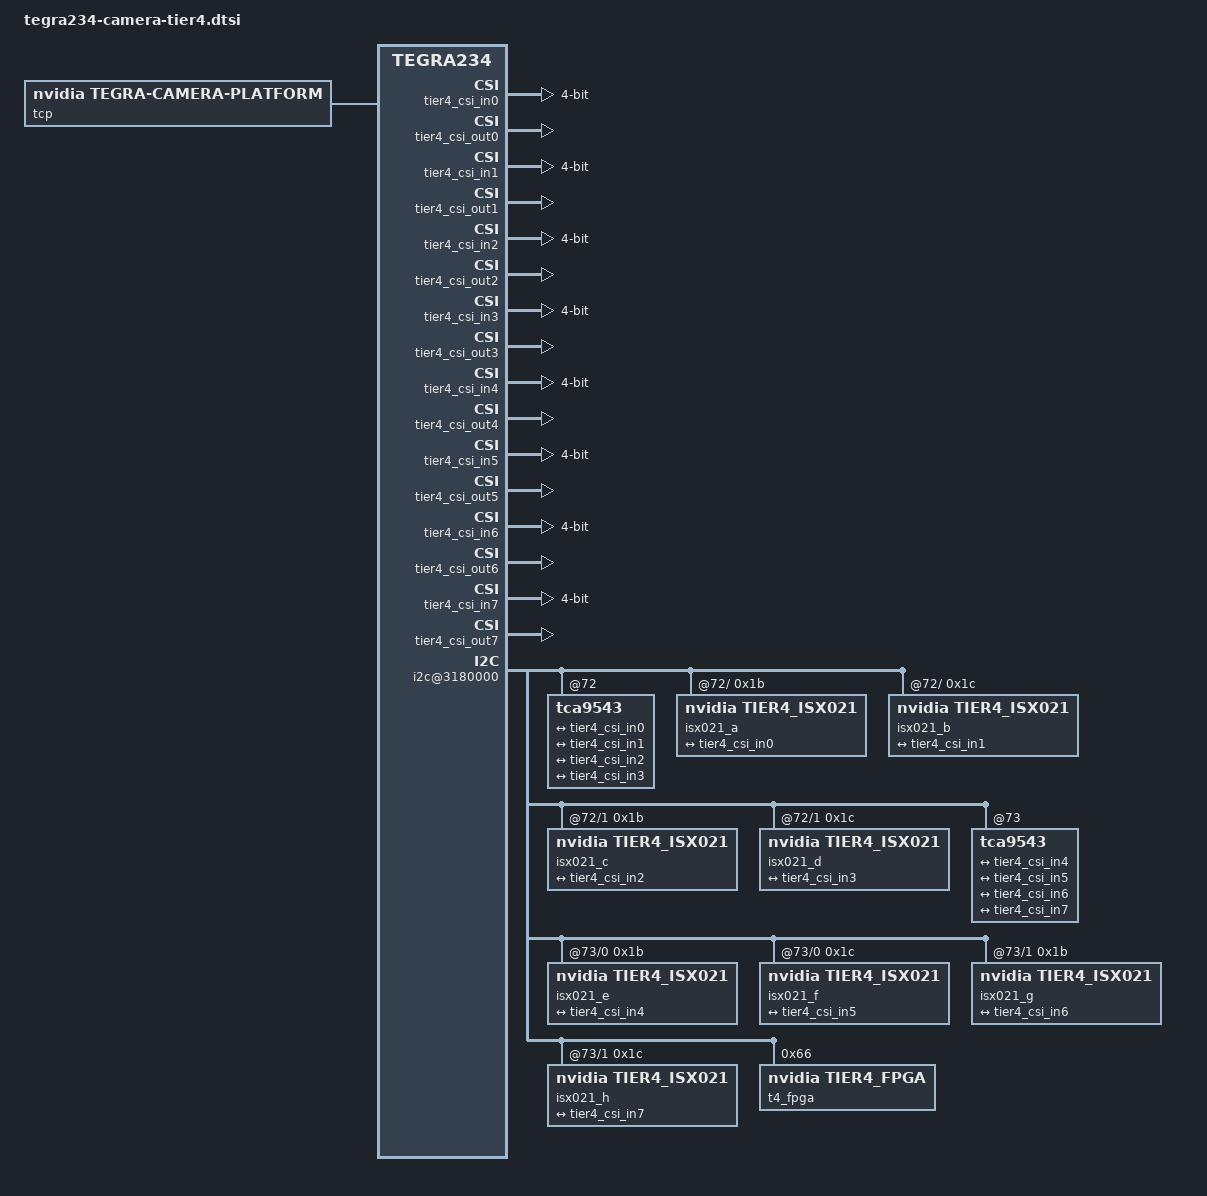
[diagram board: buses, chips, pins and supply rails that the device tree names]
/*
 * Copyright (c) 2018-2021, NVIDIA CORPORATION.  All rights reserved.
 *
 * This program is free software; you can redistribute it and/or modify it
 * under the terms and conditions of the GNU General Public License,
 * version 2, as published by the Free Software Foundation.
 *
 * This program is distributed in the hope it will be useful, but WITHOUT
 * ANY WARRANTY; without even the implied warranty of MERCHANTABILITY or
 * FITNESS FOR A PARTICULAR PURPOSE.  See the GNU General Public License for
 * more details.
 *
 * You should have received a copy of the GNU General Public License
 * along with this program.  If not, see <http://www.gnu.org/licenses/>.
 */

/* TIER4 + MAX9295 + MAX9296 + AGX ORIN */
#define BUS_WIDTH 4
#define NUM_LANES 4
#define MODE_NUMLANES "4"
#define TIER4_PIX_CLK_HZ "74250000"
//#define TIER4_PIX_CLK_HZ "94500000"
//#define TIER4_SERDES_PIX_CLK_HZ "350000000"
#define TIER4_SERDES_PIX_CLK_HZ "375000000"

/ {
	tegra-capture-vi {
		num-channels = <8>;

		ports {
			#address-cells = <1>;
			#size-cells = <0>;

			port@0 {
				reg = <0>;
				tier4_vi_in0: endpoint {
					vc-id = <0>;
					port-index = <0>;
					bus-width = <BUS_WIDTH>;
					remote-endpoint = <&tier4_csi_out0>;
				};
			};
			port@1 {
				reg = <1>;
				tier4_vi_in1: endpoint {
					vc-id = <1>;
					port-index = <0>;
					bus-width = <BUS_WIDTH>;
					remote-endpoint = <&tier4_csi_out1>;
				};
			};
			port@2 {
				reg = <2>;
				tier4_vi_in2: endpoint {
					vc-id = <0>;
					port-index = <2>;
					bus-width = <BUS_WIDTH>;
					remote-endpoint = <&tier4_csi_out2>;
				};
			};
			port@3 {
				reg = <3>;
				tier4_vi_in3: endpoint {
					vc-id = <1>;
					port-index = <2>;
					bus-width = <BUS_WIDTH>;
					remote-endpoint = <&tier4_csi_out3>;
				};
			};
			port@4 {
				reg = <4>;
				tier4_vi_in4: endpoint {
					vc-id = <0>;
					port-index = <4>;
					bus-width = <BUS_WIDTH>;
					remote-endpoint = <&tier4_csi_out4>;
				};
			};
			port@5 {
				reg = <5>;
				tier4_vi_in5: endpoint {
					vc-id = <1>;
					port-index = <4>;
					bus-width = <BUS_WIDTH>;
					remote-endpoint = <&tier4_csi_out5>;
				};
			};
			port@6 {
				reg = <6>;
				tier4_vi_in6: endpoint {
					vc-id = <0>;
					port-index = <5>;
					bus-width = <BUS_WIDTH>;
					remote-endpoint = <&tier4_csi_out6>;
				};
			};
			port@7 {
				reg = <7>;
				tier4_vi_in7: endpoint {
					vc-id = <1>;
					port-index = <5>;
					bus-width = <BUS_WIDTH>;
					remote-endpoint = <&tier4_csi_out7>;
				};
			};
		};
	};

	host1x@13e00000 {
		nvcsi@15a00000 {
			num-channels = <8>;
			#address-cells = <1>;
			#size-cells = <0>;

			channel@0 {
				reg = <0>;
				status = "okay";
				ports {
					#address-cells = <1>;
					#size-cells = <0>;
					port@0 {
						reg = <0>;
						status = "okay";
						tier4_csi_in0: endpoint@0 {
							port-index = <0>;
							bus-width = <BUS_WIDTH>;
							remote-endpoint = <&isx021_out0>;
							status = "okay";
						};
					};
					port@1 {
						reg = <1>;
						status = "okay";
						tier4_csi_out0: endpoint@1 {
							remote-endpoint = <&tier4_vi_in0>;
							status = "okay";
						};
					};
				};
			};
			channel@1 {
				reg = <1>;
				status = "okay";
				ports {
					#address-cells = <1>;
					#size-cells = <0>;
					port@0 {
						reg = <0>;
						status = "okay";
						tier4_csi_in1: endpoint@2 {
							port-index = <0>;
							bus-width = <BUS_WIDTH>;
							remote-endpoint = <&isx021_out1>;
							status = "okay";
						};
					};
					port@1 {
						reg = <1>;
						status = "okay";
						tier4_csi_out1: endpoint@3 {
							remote-endpoint = <&tier4_vi_in1>;
							status = "okay";
						};
					};
				};
			};
			channel@2 {
				reg = <2>;
				status = "okay";
				ports {
					#address-cells = <1>;
					#size-cells = <0>;
					port@0 {
						reg = <0>;
						status = "okay";
						tier4_csi_in2: endpoint@4 {
							port-index = <2>;
							bus-width = <BUS_WIDTH>;
							remote-endpoint = <&isx021_out2>;
							status = "okay";
						};
					};
					port@1 {
						reg = <1>;
						status = "okay";
						tier4_csi_out2: endpoint@5 {
							remote-endpoint = <&tier4_vi_in2>;
							status = "okay";
						};
					};
				};
			};
			channel@3 {
				reg = <3>;
				status = "okay";
				ports {
					#address-cells = <1>;
					#size-cells = <0>;
					port@0 {
						reg = <0>;
						status = "okay";
						tier4_csi_in3: endpoint@6 {
							port-index = <2>;
							bus-width = <BUS_WIDTH>;
							remote-endpoint = <&isx021_out3>;
							status = "okay";
						};
					};
					port@1 {
						reg = <1>;
						status = "okay";
						tier4_csi_out3: endpoint@7 {
							remote-endpoint = <&tier4_vi_in3>;
							status = "okay";
						};
					};
				};
			};
			channel@4 {
				reg = <4>;
				status = "okay";
				ports {
					#address-cells = <1>;
					#size-cells = <0>;
					port@0 {
						reg = <0>;
						status = "okay";
						tier4_csi_in4: endpoint@8 {
							port-index = <4>;
							bus-width = <BUS_WIDTH>;
							remote-endpoint = <&isx021_out4>;
							status = "okay";
						};
					};
					port@1 {
						reg = <1>;
						status = "okay";
						tier4_csi_out4: endpoint@9 {
							remote-endpoint = <&tier4_vi_in4>;
							status = "okay";
						};
					};
				};
			};
			channel@5 {
				reg = <5>;
				status = "okay";
				ports {
					#address-cells = <1>;
					#size-cells = <0>;
					port@0 {
						reg = <0>;
						status = "okay";
						tier4_csi_in5: endpoint@10 {
							port-index = <4>;
							bus-width = <BUS_WIDTH>;
							remote-endpoint = <&isx021_out5>;
							status = "okay";
						};
					};
					port@1 {
						reg = <1>;
						status = "okay";
						tier4_csi_out5: endpoint@11 {
							remote-endpoint = <&tier4_vi_in5>;
							status = "okay";
						};
					};
				};
			};
			channel@6 {
				reg = <6>;
				status = "okay";
				ports {
					#address-cells = <1>;
					#size-cells = <0>;
					port@0 {
						reg = <0>;
						status = "okay";
						tier4_csi_in6: endpoint@12 {
							port-index = <6>;
							bus-width = <BUS_WIDTH>;
							remote-endpoint = <&isx021_out6>;
							status = "okay";
						};
					};
					port@1 {
						reg = <1>;
						status = "okay";
						tier4_csi_out6: endpoint@13 {
							remote-endpoint = <&tier4_vi_in6>;
							status = "okay";
						};
					};
				};
			};
			channel@7 {
				reg = <7>;
				status = "okay";
				ports {
					#address-cells = <1>;
					#size-cells = <0>;
					port@0 {
						reg = <0>;
						status = "okay";
						tier4_csi_in7: endpoint@14 {
							port-index = <6>;
							bus-width = <BUS_WIDTH>;
							remote-endpoint = <&isx021_out7>;
							status = "okay";
						};
					};
					port@1 {
						reg = <1>;
						status = "okay";
						tier4_csi_out7: endpoint@15 {
							remote-endpoint = <&tier4_vi_in7>;
							status = "okay";
						};
					};
				};
			};
		};
	};

i2c@3180000 {
	tca9543@72 {
		i2c@0 {
			isx021_a@1b {
				//cvb
				status = "okay";
				def-addr = <0x1a>;

				// common module
				compatible = "nvidia,tier4_isx021";
				reg = <0x1b>;

				/* Physical dimensions of sensor */
				physical_w = "15.0";
				physical_h = "12.5";
				reg_mux = <0>;
				sensor_model ="isx021";
				fsync-mode = "false";
				distortion-correction = "false";
				auto-exposure = "true";

				/* Defines number of frames to be dropped by driver internally after applying */
				/* sensor crop settings. Some sensors send corrupt frames after applying */
				/* crop co-ordinates */
				post_crop_frame_drop = "0";

				/* Convert Gain to unit of dB (decibel) befor passing to kernel driver */
				use_decibel_gain = "true";

				/* enable CID_SENSOR_MODE_ID for sensor modes selection */
				use_sensor_mode_id = "true";
				//use_sensor_mode_id = "false";

				mode0 {
					/*mode ISX021_MODE_1920X1280_CROP_30FPS*/
					mclk_khz = "24000";
					num_lanes = MODE_NUMLANES;
					tegra_sinterface = "serial_a";
					vc_id = "0";
					discontinuous_clk = "no";
					dpcm_enable = "false";
					cil_settletime = "0";
					dynamic_pixel_bit_depth = "16";
					csi_pixel_bit_depth = "16";
					mode_type = "yuv";
					pixel_phase = "uyvy";

					active_w = "1920";
					active_h = "1280";
					readout_orientation = "0";
					line_length = "2250";
					inherent_gain = "1";

					pix_clk_hz = TIER4_PIX_CLK_HZ;
					serdes_pix_clk_hz = TIER4_SERDES_PIX_CLK_HZ;

					gain_factor = "10";
					min_gain_val = "0"; /* dB */
					max_gain_val = "300"; /* dB */
					step_gain_val = "3"; /* 0.3 */
					default_gain = "0";
					min_hdr_ratio = "1";
					max_hdr_ratio = "1";
					framerate_factor = "1000000";
					min_framerate = "30000000";
					max_framerate = "30000000";
					step_framerate = "1";
					default_framerate = "30000000";
					exposure_factor = "1000000";
					min_exp_time = "24"; /* us 1 line */
					max_exp_time = "33333";
					step_exp_time = "1";
					default_exp_time = "33333"; /* us */
					embedded_metadata_height = "0";
				};

				mode1 {
					/*mode ISX021_MODE_1920X1280_CROP_30FPS  for Front Embedded data */
					mclk_khz = "24000";
					num_lanes = MODE_NUMLANES;
					tegra_sinterface = "serial_a";
					vc_id = "0";
					discontinuous_clk = "no";
					dpcm_enable = "false";
					cil_settletime = "0";
					dynamic_pixel_bit_depth = "16";
					csi_pixel_bit_depth = "16";
					mode_type = "yuv";
					pixel_phase = "uyvy";

					active_w = "1920";
					active_h = "1281";
					readout_orientation = "0";
					line_length = "2250";
					inherent_gain = "1";

					pix_clk_hz = TIER4_PIX_CLK_HZ;
					serdes_pix_clk_hz = TIER4_SERDES_PIX_CLK_HZ;

					gain_factor = "10";
					min_gain_val = "0"; /* dB */
					max_gain_val = "300"; /* dB */
					step_gain_val = "3"; /* 0.3 */
					default_gain = "0";
					min_hdr_ratio = "1";
					max_hdr_ratio = "1";
					framerate_factor = "1000000";
					min_framerate = "30000000";
					max_framerate = "30000000";
					step_framerate = "1";
					default_framerate = "30000000";
					exposure_factor = "1000000";
					min_exp_time = "24"; /* us 1 line */
					max_exp_time = "33333";
					step_exp_time = "1";
					default_exp_time = "33333"; /* us */
					embedded_metadata_height = "0";
				};

				mode2 {
					/*mode ISX021_MODE_1920X1280_CROP_30FPS  for Rear Embedded data */
					mclk_khz = "24000";
					num_lanes = MODE_NUMLANES;
					tegra_sinterface = "serial_a";
					vc_id = "0";
					discontinuous_clk = "no";
					dpcm_enable = "false";
					cil_settletime = "0";
					dynamic_pixel_bit_depth = "16";
					csi_pixel_bit_depth = "16";
					mode_type = "yuv";
					pixel_phase = "uyvy";

					active_w = "1920";
					active_h = "1294";
					readout_orientation = "0";
					line_length = "2250";
					inherent_gain = "1";

					pix_clk_hz = TIER4_PIX_CLK_HZ;
					serdes_pix_clk_hz = TIER4_SERDES_PIX_CLK_HZ;

					gain_factor = "10";
					min_gain_val = "0"; /* dB */
					max_gain_val = "300"; /* dB */
					step_gain_val = "3"; /* 0.3 */
					default_gain = "0";
					min_hdr_ratio = "1";
					max_hdr_ratio = "1";
					framerate_factor = "1000000";
					min_framerate = "30000000";
					max_framerate = "30000000";
					step_framerate = "1";
					default_framerate = "30000000";
					exposure_factor = "1000000";
					min_exp_time = "24"; /* us 1 line */
					max_exp_time = "33333";
					step_exp_time = "1";
					default_exp_time = "33333"; /* us */
					embedded_metadata_height = "0";
				};

				mode3 {
					/*mode ISX021_MODE_1920X1280_CROP_30FPS  for Front and Rear Embedded data */
					mclk_khz = "24000";
					num_lanes = MODE_NUMLANES;
					tegra_sinterface = "serial_a";
					vc_id = "0";
					discontinuous_clk = "no";
					dpcm_enable = "false";
					cil_settletime = "0";
					dynamic_pixel_bit_depth = "16";
					csi_pixel_bit_depth = "16";
					mode_type = "yuv";
					pixel_phase = "uyvy";

					active_w = "1920";
					active_h = "1295";
					readout_orientation = "0";
					line_length = "2250";
					inherent_gain = "1";

					pix_clk_hz = TIER4_PIX_CLK_HZ;
					serdes_pix_clk_hz = TIER4_SERDES_PIX_CLK_HZ;

					gain_factor = "10";
					min_gain_val = "0"; /* dB */
					max_gain_val = "300"; /* dB */
					step_gain_val = "3"; /* 0.3 */
					default_gain = "0";
					min_hdr_ratio = "1";
					max_hdr_ratio = "1";
					framerate_factor = "1000000";
					min_framerate = "30000000";
					max_framerate = "30000000";
					step_framerate = "1";
					default_framerate = "30000000";
					exposure_factor = "1000000";
					min_exp_time = "24"; /* us 1 line */
					max_exp_time = "33333";
					step_exp_time = "1";
					default_exp_time = "33333"; /* us */
					embedded_metadata_height = "0";
				};

				ports {
					#address-cells = <1>;
					#size-cells = <0>;

					port@0 {
						reg = <0>;

						isx021_out0: endpoint {
							vc-id = <0>;
							port-index = <0>;
							bus-width = <BUS_WIDTH>;
							remote-endpoint = <&tier4_csi_in0>;
						};
					};
				};

				gmsl-link { /* isx021_a@1b */
					src-csi-port = "b";           /* Port at which sensor is connected to its serializer device. */
					dst-csi-port = "a";           /* Destination CSI port on the Jetson side, connected at deserializer. */
					serdes-csi-link = "a";        /* GMSL link sensor/serializer connected */
					csi-mode = "1x4";             /*  to sensor CSI mode. */
					st-vc = <0>;                  /* Sensor source default VC ID: 0 unless overridden by sensor. */
					vc-id = <0>;                  /* Destination VC ID, assigned to sensor stream by deserializer. */
					num-lanes = <NUM_LANES>;              /* Number of CSI lanes used. */
					streams = "ued-u1", "yuv8";   /* Types of streams sensor is streaming. */
				};

			}; // End of isx021_a@1b   

			isx021_b@1c {
				//cvb
				status = "okay";
				def-addr = <0x1a>;

				// common module
				compatible = "nvidia,tier4_isx021";
				reg = <0x1c>;

				/* Physical dimensions of sensor */
				physical_w = "15.0";
				physical_h = "12.5";
				reg_mux = <0>;
				sensor_model ="isx021";
				fsync-mode = "false";
				distortion-correction = "false";
				auto-exposure = "true";

				/* Defines number of frames to be dropped by driver internally after applying */
				/* sensor crop settings. Some sensors send corrupt frames after applying */
				/* crop co-ordinates */
				post_crop_frame_drop = "0";

				/* Convert Gain to unit of dB (decibel) befor passing to kernel driver */
				use_decibel_gain = "true";

				/* enable CID_SENSOR_MODE_ID for sensor modes selection */
				use_sensor_mode_id = "true";
				//use_sensor_mode_id = "false";

				mode0 {
					/*mode ISX021_MODE_1920X1280_CROP_30FPS*/
					mclk_khz = "24000";
					num_lanes = MODE_NUMLANES;
					tegra_sinterface = "serial_a";
					vc_id = "1";
					discontinuous_clk = "no";
					dpcm_enable = "false";
					cil_settletime = "0";
					dynamic_pixel_bit_depth = "16";
					csi_pixel_bit_depth = "16";
					mode_type = "yuv";
					pixel_phase = "uyvy";

					active_w = "1920";
					active_h = "1280";
					readout_orientation = "0";
					line_length = "2250";
					inherent_gain = "1";

					pix_clk_hz = TIER4_PIX_CLK_HZ;
					serdes_pix_clk_hz = TIER4_SERDES_PIX_CLK_HZ;

					gain_factor = "10";
					min_gain_val = "0"; /* dB */
					max_gain_val = "300"; /* dB */
					step_gain_val = "3"; /* 0.3 */
					default_gain = "0";
					min_hdr_ratio = "1";
					max_hdr_ratio = "1";
					framerate_factor = "1000000";
					min_framerate = "30000000";
					max_framerate = "30000000";
					step_framerate = "1";
					default_framerate = "30000000";
					exposure_factor = "1000000";
					min_exp_time = "24"; /* us 1 line */
					max_exp_time = "33333";
					step_exp_time = "1";
					default_exp_time = "33333"; /* us */
					embedded_metadata_height = "0";
				};

				mode1 {
					/*mode ISX021_MODE_1920X1280_CROP_30FPS  for Front Embedded data */
					mclk_khz = "24000";
					num_lanes = MODE_NUMLANES;
					tegra_sinterface = "serial_a";
					vc_id = "1";
					discontinuous_clk = "no";
					dpcm_enable = "false";
					cil_settletime = "0";
					dynamic_pixel_bit_depth = "16";
					csi_pixel_bit_depth = "16";
					mode_type = "yuv";
					pixel_phase = "uyvy";

					active_w = "1920";
					active_h = "1281";
					readout_orientation = "0";
					line_length = "2250";
					inherent_gain = "1";

					pix_clk_hz = TIER4_PIX_CLK_HZ;
					serdes_pix_clk_hz = TIER4_SERDES_PIX_CLK_HZ;

					gain_factor = "10";
					min_gain_val = "0"; /* dB */
					max_gain_val = "300"; /* dB */
					step_gain_val = "3"; /* 0.3 */
					default_gain = "0";
					min_hdr_ratio = "1";
					max_hdr_ratio = "1";
					framerate_factor = "1000000";
					min_framerate = "30000000";
					max_framerate = "30000000";
					step_framerate = "1";
					default_framerate = "30000000";
					exposure_factor = "1000000";
					min_exp_time = "24"; /* us 1 line */
					max_exp_time = "33333";
					step_exp_time = "1";
					default_exp_time = "33333"; /* us */
					embedded_metadata_height = "0";
				};

				mode2 {
					/*mode ISX021_MODE_1920X1280_CROP_30FPS  for Rear Embedded data */
					mclk_khz = "24000";
					num_lanes = MODE_NUMLANES;
					tegra_sinterface = "serial_a";
					vc_id = "1";
					discontinuous_clk = "no";
					dpcm_enable = "false";
					cil_settletime = "0";
					dynamic_pixel_bit_depth = "16";
					csi_pixel_bit_depth = "16";
					mode_type = "yuv";
					pixel_phase = "uyvy";

					active_w = "1920";
					active_h = "1294";
					readout_orientation = "0";
					line_length = "2250";
					inherent_gain = "1";

					pix_clk_hz = TIER4_PIX_CLK_HZ;
					serdes_pix_clk_hz = TIER4_SERDES_PIX_CLK_HZ;

					gain_factor = "10";
					min_gain_val = "0"; /* dB */
					max_gain_val = "300"; /* dB */
					step_gain_val = "3"; /* 0.3 */
					default_gain = "0";
					min_hdr_ratio = "1";
					max_hdr_ratio = "1";
					framerate_factor = "1000000";
					min_framerate = "30000000";
					max_framerate = "30000000";
					step_framerate = "1";
					default_framerate = "30000000";
					exposure_factor = "1000000";
					min_exp_time = "24"; /* us 1 line */
					max_exp_time = "33333";
					step_exp_time = "1";
					default_exp_time = "33333"; /* us */
					embedded_metadata_height = "0";
				};

				mode3 {
					/*mode ISX021_MODE_1920X1280_CROP_30FPS  for Front and Rear Embedded data */
					mclk_khz = "24000";
					num_lanes = MODE_NUMLANES;
					tegra_sinterface = "serial_a";
					vc_id = "1";
					discontinuous_clk = "no";
					dpcm_enable = "false";
					cil_settletime = "0";
					dynamic_pixel_bit_depth = "16";
					csi_pixel_bit_depth = "16";
					mode_type = "yuv";
					pixel_phase = "uyvy";

					active_w = "1920";
					active_h = "1295";
					readout_orientation = "0";
					line_length = "2250";
					inherent_gain = "1";

					pix_clk_hz = TIER4_PIX_CLK_HZ;
					serdes_pix_clk_hz = TIER4_SERDES_PIX_CLK_HZ;

					gain_factor = "10";
					min_gain_val = "0"; /* dB */
					max_gain_val = "300"; /* dB */
					step_gain_val = "3"; /* 0.3 */
					default_gain = "0";
					min_hdr_ratio = "1";
					max_hdr_ratio = "1";
					framerate_factor = "1000000";
					min_framerate = "30000000";
					max_framerate = "30000000";
					step_framerate = "1";
					default_framerate = "30000000";
					exposure_factor = "1000000";
					min_exp_time = "24"; /* us 1 line */
					max_exp_time = "33333";
					step_exp_time = "1";
					default_exp_time = "33333"; /* us */
					embedded_metadata_height = "0";
				};

				ports {
					#address-cells = <1>;
					#size-cells = <0>;

					port@0 {
						reg = <0>;
						isx021_out1: endpoint {
							vc-id = <1>;
							port-index = <0>;
							bus-width = <BUS_WIDTH>;
							remote-endpoint = <&tier4_csi_in1>;
						};
					};
				};

				gmsl-link { /* isx021_b@1c */
					src-csi-port = "b";           /* Port at which sensor is connected to its serializer device. */
					dst-csi-port = "a";           /* Destination CSI port on the Jetson side, connected at deserializer. */
					serdes-csi-link = "b";        /* GMSL link sensor/serializer connected */
					csi-mode = "1x4";             /*  to sensor CSI mode. */
					st-vc = <0>;                  /* Sensor source default VC ID: 0 unless overridden by sensor. */
					vc-id = <1>;                  /* Destination VC ID, assigned to sensor stream by deserializer. */
					num-lanes = <NUM_LANES>;              /* Number of CSI lanes used. */
					streams = "ued-u1", "yuv8";   /* Types of streams sensor is streaming. */
				};

			}; // End of isx021_b@1c

		};// End of i2c@0	
 
		i2c@1 {
			i2c-mux,deselect-on-exit;
			#address-cells = <1>;
			#size-cells = <0>;
			status = "okay";

			reg = <1>;

			isx021_c@1b {
				//cvb
				status = "okay";
				def-addr = <0x1a>;

				// common modul;e
				compatible = "nvidia,tier4_isx021";
				reg = <0x1b>;

				/* Physical dimensions of sensor */
				physical_w = "15.0";
				physical_h = "12.5";
				reg_mux = <1>;

				sensor_model ="isx021";
				fsync-mode = "false";
				distortion-correction = "false";
				auto-exposure = "true";

				/* Defines number of frames to be dropped by driver internally after applying */
				/* sensor crop settings. Some sensors send corrupt frames after applying */
				/* crop co-ordinates */
				post_crop_frame_drop = "0";

				/* Convert Gain to unit of dB (decibel) befor passing to kernel driver */
				use_decibel_gain = "true";

				/* enable CID_SENSOR_MODE_ID for sensor modes selection */
				use_sensor_mode_id = "true";
				//use_sensor_mode_id = "false";

				mode0 {
					/*mode ISX021_MODE_1920X1280_CROP_30FPS*/
					mclk_khz = "24000";
					num_lanes = MODE_NUMLANES;
					tegra_sinterface = "serial_c";
					vc_id = "0";
					discontinuous_clk = "no";
					dpcm_enable = "false";
					cil_settletime = "0";
					dynamic_pixel_bit_depth = "16";
					csi_pixel_bit_depth = "16";
					mode_type = "yuv";
					pixel_phase = "uyvy";

					active_w = "1920";
					active_h = "1280";
					readout_orientation = "0";
					line_length = "2250";
					inherent_gain = "1";

					pix_clk_hz = TIER4_PIX_CLK_HZ;
					serdes_pix_clk_hz = TIER4_SERDES_PIX_CLK_HZ;

					gain_factor = "10";
					min_gain_val = "0"; /* dB */
					max_gain_val = "300"; /* dB */
					step_gain_val = "3"; /* 0.3 */
					default_gain = "0";
					min_hdr_ratio = "1";
					max_hdr_ratio = "1";
					framerate_factor = "1000000";
					min_framerate = "30000000";
					max_framerate = "30000000";
					step_framerate = "1";
					default_framerate = "30000000";
					exposure_factor = "1000000";
					min_exp_time = "24"; /* us 1 line */
					max_exp_time = "33333";
					step_exp_time = "1";
					default_exp_time = "33333"; /* us */
					embedded_metadata_height = "0";
				};

				mode1 {
					/*mode ISX021_MODE_1920X1280_CROP_30FPS  for Front Embedded data */
					mclk_khz = "24000";
					num_lanes = MODE_NUMLANES;
					tegra_sinterface = "serial_c";
					vc_id = "0";
					discontinuous_clk = "no";
					dpcm_enable = "false";
					cil_settletime = "0";
					dynamic_pixel_bit_depth = "16";
					csi_pixel_bit_depth = "16";
					mode_type = "yuv";
					pixel_phase = "uyvy";

					active_w = "1920";
					active_h = "1281";
					readout_orientation = "0";
					line_length = "2250";
					inherent_gain = "1";

					pix_clk_hz = TIER4_PIX_CLK_HZ;
					serdes_pix_clk_hz = TIER4_SERDES_PIX_CLK_HZ;

					gain_factor = "10";
					min_gain_val = "0"; /* dB */
					max_gain_val = "300"; /* dB */
					step_gain_val = "3"; /* 0.3 */
					default_gain = "0";
					min_hdr_ratio = "1";
					max_hdr_ratio = "1";
					framerate_factor = "1000000";
					min_framerate = "30000000";
					max_framerate = "30000000";
					step_framerate = "1";
					default_framerate = "30000000";
					exposure_factor = "1000000";
					min_exp_time = "24"; /* us 1 line */
					max_exp_time = "33333";
					step_exp_time = "1";
					default_exp_time = "33333"; /* us */
					embedded_metadata_height = "0";
				};

				mode2 {
					/*mode ISX021_MODE_1920X1280_CROP_30FPS  for Rear Embedded data */
					mclk_khz = "24000";
					num_lanes = MODE_NUMLANES;
					tegra_sinterface = "serial_c";
					vc_id = "0";
					discontinuous_clk = "no";
					dpcm_enable = "false";
					cil_settletime = "0";
					dynamic_pixel_bit_depth = "16";
					csi_pixel_bit_depth = "16";
					mode_type = "yuv";
					pixel_phase = "uyvy";

					active_w = "1920";
					active_h = "1294";
					readout_orientation = "0";
					line_length = "2250";
					inherent_gain = "1";

					pix_clk_hz = TIER4_PIX_CLK_HZ;
					serdes_pix_clk_hz = TIER4_SERDES_PIX_CLK_HZ;

					gain_factor = "10";
					min_gain_val = "0"; /* dB */
					max_gain_val = "300"; /* dB */
					step_gain_val = "3"; /* 0.3 */
					default_gain = "0";
					min_hdr_ratio = "1";
					max_hdr_ratio = "1";
					framerate_factor = "1000000";
					min_framerate = "30000000";
					max_framerate = "30000000";
					step_framerate = "1";
					default_framerate = "30000000";
					exposure_factor = "1000000";
					min_exp_time = "24"; /* us 1 line */
					max_exp_time = "33333";
					step_exp_time = "1";
					default_exp_time = "33333"; /* us */
					embedded_metadata_height = "0";
				};

				mode3 {
					/*mode ISX021_MODE_1920X1280_CROP_30FPS  for Front and Rear Embedded data */
					mclk_khz = "24000";
					num_lanes = MODE_NUMLANES;
					tegra_sinterface = "serial_c";
					vc_id = "0";
					discontinuous_clk = "no";
					dpcm_enable = "false";
					cil_settletime = "0";
					dynamic_pixel_bit_depth = "16";
					csi_pixel_bit_depth = "16";
					mode_type = "yuv";
					pixel_phase = "uyvy";

					active_w = "1920";
					active_h = "1295";
					readout_orientation = "0";
					line_length = "2250";
					inherent_gain = "1";

					pix_clk_hz = TIER4_PIX_CLK_HZ;
					serdes_pix_clk_hz = TIER4_SERDES_PIX_CLK_HZ;

					gain_factor = "10";
					min_gain_val = "0"; /* dB */
					max_gain_val = "300"; /* dB */
					step_gain_val = "3"; /* 0.3 */
					default_gain = "0";
					min_hdr_ratio = "1";
					max_hdr_ratio = "1";
					framerate_factor = "1000000";
					min_framerate = "30000000";
					max_framerate = "30000000";
					step_framerate = "1";
					default_framerate = "30000000";
					exposure_factor = "1000000";
					min_exp_time = "24"; /* us 1 line */
					max_exp_time = "33333";
					step_exp_time = "1";
					default_exp_time = "33333"; /* us */
					embedded_metadata_height = "0";
				};

				ports {
					#address-cells = <1>;
					#size-cells = <0>;

					port@0 {
						reg = <0>;
						isx021_out2: endpoint {
							vc-id = <0>;
							port-index = <2>;
							bus-width = <BUS_WIDTH>;
							remote-endpoint = <&tier4_csi_in2>;
						};
					};
				};

				gmsl-link { /* isx021_c@1b */
					src-csi-port = "b";           /* Port at which sensor is connected to its serializer device. */
					dst-csi-port = "a";           /* Destination CSI port on the Jetson side, connected at deserializer. */
					serdes-csi-link = "a";        /* GMSL link sensor/serializer connected */
					csi-mode = "1x4";             /*  to sensor CSI mode. */
					st-vc = <0>;                  /* Sensor source default VC ID: 0 unless overridden by sensor. */
					vc-id = <0>;                  /* Destination VC ID, assigned to sensor stream by deserializer. */
					num-lanes = <NUM_LANES>;              /* Number of CSI lanes used. */
					streams = "ued-u1", "yuv8";   /* Types of streams sensor is streaming. */
				};

			}; // End of isx021_c@1b

			isx021_d@1c {
				//cvb
				status = "okay";
				def-addr = <0x1a>;

				// common modul;e
				compatible = "nvidia,tier4_isx021";
				reg = <0x1c>;

				/* Physical dimensions of sensor */
				physical_w = "15.0";
				physical_h = "12.5";
				reg_mux = <1>;
				sensor_model ="isx021";
				fsync-mode = "false";
				distortion-correction = "false";
				auto-exposure = "true";

				/* Defines number of frames to be dropped by driver internally after applying */
				/* sensor crop settings. Some sensors send corrupt frames after applying */
				/* crop co-ordinates */
				post_crop_frame_drop = "0";

				/* Convert Gain to unit of dB (decibel) befor passing to kernel driver */
				use_decibel_gain = "true";

				/* enable CID_SENSOR_MODE_ID for sensor modes selection */
				use_sensor_mode_id = "true";
				//use_sensor_mode_id = "false";

				mode0 {
					/*mode ISX021_MODE_1920X1280_CROP_30FPS*/
					mclk_khz = "24000";
					num_lanes = MODE_NUMLANES;
					tegra_sinterface = "serial_c";
					vc_id = "1";
					discontinuous_clk = "no";
					dpcm_enable = "false";
					cil_settletime = "0";
					dynamic_pixel_bit_depth = "16";
					csi_pixel_bit_depth = "16";
					mode_type = "yuv";
					pixel_phase = "uyvy";

					active_w = "1920";
					active_h = "1280";
					readout_orientation = "0";
					line_length = "2250";
					inherent_gain = "1";

					pix_clk_hz = TIER4_PIX_CLK_HZ;
					serdes_pix_clk_hz = TIER4_SERDES_PIX_CLK_HZ;

					gain_factor = "10";
					min_gain_val = "0"; /* dB */
					max_gain_val = "300"; /* dB */
					step_gain_val = "3"; /* 0.3 */
					default_gain = "0";
					min_hdr_ratio = "1";
					max_hdr_ratio = "1";
					framerate_factor = "1000000";
					min_framerate = "30000000";
					max_framerate = "30000000";
					step_framerate = "1";
					default_framerate = "30000000";
					exposure_factor = "1000000";
					min_exp_time = "24"; /* us 1 line */
					max_exp_time = "33333";
					step_exp_time = "1";
					default_exp_time = "33333"; /* us */
					embedded_metadata_height = "0";
				};
		
				mode1 {
					/*mode ISX021_MODE_1920X1280_CROP_30FPS  for Front Embedded data */
					mclk_khz = "24000";
					num_lanes = MODE_NUMLANES;
					tegra_sinterface = "serial_c";
					vc_id = "1";
					discontinuous_clk = "no";
					dpcm_enable = "false";
					cil_settletime = "0";
					dynamic_pixel_bit_depth = "16";
					csi_pixel_bit_depth = "16";
					mode_type = "yuv";
					pixel_phase = "uyvy";

					active_w = "1920";
					active_h = "1281";
					readout_orientation = "0";
					line_length = "2250";
					inherent_gain = "1";

					pix_clk_hz = TIER4_PIX_CLK_HZ;
					serdes_pix_clk_hz = TIER4_SERDES_PIX_CLK_HZ;

					gain_factor = "10";
					min_gain_val = "0"; /* dB */
					max_gain_val = "300"; /* dB */
					step_gain_val = "3"; /* 0.3 */
					default_gain = "0";
					min_hdr_ratio = "1";
					max_hdr_ratio = "1";
					framerate_factor = "1000000";
					min_framerate = "30000000";
					max_framerate = "30000000";
					step_framerate = "1";
					default_framerate = "30000000";
					exposure_factor = "1000000";
					min_exp_time = "24"; /* us 1 line */
					max_exp_time = "33333";
					step_exp_time = "1";
					default_exp_time = "33333"; /* us */
					embedded_metadata_height = "0";
				};

				mode2 {
					/*mode ISX021_MODE_1920X1280_CROP_30FPS  for Rear Embedded data */
					mclk_khz = "24000";
					num_lanes = MODE_NUMLANES;
					tegra_sinterface = "serial_c";
					vc_id = "1";
					discontinuous_clk = "no";
					dpcm_enable = "false";
					cil_settletime = "0";
					dynamic_pixel_bit_depth = "16";
					csi_pixel_bit_depth = "16";
					mode_type = "yuv";
					pixel_phase = "uyvy";

					active_w = "1920";
					active_h = "1294";
					readout_orientation = "0";
					line_length = "2250";
					inherent_gain = "1";

					pix_clk_hz = TIER4_PIX_CLK_HZ;
					serdes_pix_clk_hz = TIER4_SERDES_PIX_CLK_HZ;

					gain_factor = "10";
					min_gain_val = "0"; /* dB */
					max_gain_val = "300"; /* dB */
					step_gain_val = "3"; /* 0.3 */
					default_gain = "0";
					min_hdr_ratio = "1";
					max_hdr_ratio = "1";
					framerate_factor = "1000000";
					min_framerate = "30000000";
					max_framerate = "30000000";
					step_framerate = "1";
					default_framerate = "30000000";
					exposure_factor = "1000000";
					min_exp_time = "24"; /* us 1 line */
					max_exp_time = "33333";
					step_exp_time = "1";
					default_exp_time = "33333"; /* us */
					embedded_metadata_height = "0";
				};

				mode3 {
					/*mode ISX021_MODE_1920X1280_CROP_30FPS  for Front and Rear Embedded data */
					mclk_khz = "24000";
					num_lanes = MODE_NUMLANES;
					tegra_sinterface = "serial_c";
					vc_id = "1";
					discontinuous_clk = "no";
					dpcm_enable = "false";
					cil_settletime = "0";
					dynamic_pixel_bit_depth = "16";
					csi_pixel_bit_depth = "16";
					mode_type = "yuv";
					pixel_phase = "uyvy";

					active_w = "1920";
					active_h = "1295";
					readout_orientation = "0";
					line_length = "2250";
					inherent_gain = "1";

					pix_clk_hz = TIER4_PIX_CLK_HZ;
					serdes_pix_clk_hz = TIER4_SERDES_PIX_CLK_HZ;

					gain_factor = "10";
					min_gain_val = "0"; /* dB */
					max_gain_val = "300"; /* dB */
					step_gain_val = "3"; /* 0.3 */
					default_gain = "0";
					min_hdr_ratio = "1";
					max_hdr_ratio = "1";
					framerate_factor = "1000000";
					min_framerate = "30000000";
					max_framerate = "30000000";
					step_framerate = "1";
					default_framerate = "30000000";
					exposure_factor = "1000000";
					min_exp_time = "24"; /* us 1 line */
					max_exp_time = "33333";
					step_exp_time = "1";
					default_exp_time = "33333"; /* us */
					embedded_metadata_height = "0";
				};
	
				ports {
					#address-cells = <1>;
					#size-cells = <0>;

					port@0 {
						reg = <0>;
						isx021_out3: endpoint {
							vc-id = <1>;
							port-index = <2>;
							bus-width = <BUS_WIDTH>;
							remote-endpoint = <&tier4_csi_in3>;
						};
					};
				};

				gmsl-link { /* isx021_d@1c */
					src-csi-port = "b";           /* Port at which sensor is connected to its serializer device. */
					dst-csi-port = "a";           /* Destination CSI port on the Jetson side, connected at deserializer. */
					serdes-csi-link = "b";        /* GMSL link sensor/serializer connected */
					csi-mode = "1x4";             /*  to sensor CSI mode. */
					st-vc = <0>;                  /* Sensor source default VC ID: 0 unless overridden by sensor. */
					vc-id = <1>;                  /* Destination VC ID, assigned to sensor stream by deserializer. */
					num-lanes = <NUM_LANES>;              /* Number of CSI lanes used. */
					streams = "ued-u1", "yuv8";   /* Types of streams sensor is streaming. */
				};

			}; // End of isx021_d@1c
		}; // End of i2c@1
	}; // End of tca9543@72

	tca9543@73 {
		i2c@0 {
			i2c-mux,deselect-on-exit;
			#address-cells = <1>;
			#size-cells = <0>;
			status = "okay";

			reg = <0>;

			isx021_e@1b {
				//cvb
				status = "okay";
				def-addr = <0x1a>;

				// common modul;e
				compatible = "nvidia,tier4_isx021";
				reg = <0x1b>;

				/* Physical dimensions of sensor */
				physical_w = "15.0";
				physical_h = "12.5";
				reg_mux = <2>;
				sensor_model ="isx021";
				fsync-mode = "false";
				distortion-correction = "false";
				auto-exposure = "true";

				/* Defines number of frames to be dropped by driver internally after applying */
				/* sensor crop settings. Some sensors send corrupt frames after applying */
				/* crop co-ordinates */
				post_crop_frame_drop = "0";

				/* Convert Gain to unit of dB (decibel) befor passing to kernel driver */
				use_decibel_gain = "true";

				/* enable CID_SENSOR_MODE_ID for sensor modes selection */
				use_sensor_mode_id = "true";
				//use_sensor_mode_id = "false";

				mode0 {
					/*mode ISX021_MODE_1920X1280_CROP_30FPS*/
					mclk_khz = "24000";
					num_lanes = MODE_NUMLANES;
					tegra_sinterface = "serial_e";
					vc_id = "0";
					discontinuous_clk = "no";
					dpcm_enable = "false";
					cil_settletime = "0";
					dynamic_pixel_bit_depth = "16";
					csi_pixel_bit_depth = "16";
					mode_type = "yuv";
					pixel_phase = "uyvy";

					active_w = "1920";
					active_h = "1280";
					readout_orientation = "0";
					line_length = "2250";
					inherent_gain = "1";

					pix_clk_hz = TIER4_PIX_CLK_HZ;
					serdes_pix_clk_hz = TIER4_SERDES_PIX_CLK_HZ;

					gain_factor = "10";
					min_gain_val = "0"; /* dB */
					max_gain_val = "300"; /* dB */
					step_gain_val = "3"; /* 0.3 */
					default_gain = "0";
					min_hdr_ratio = "1";
					max_hdr_ratio = "1";
					framerate_factor = "1000000";
					min_framerate = "30000000";
					max_framerate = "30000000";
					step_framerate = "1";
					default_framerate = "30000000";
					exposure_factor = "1000000";
					min_exp_time = "24"; /* us 1 line */
					max_exp_time = "33333";
					step_exp_time = "1";
					default_exp_time = "33333"; /* us */
					embedded_metadata_height = "0";
				};

				mode1 {
					/*mode ISX021_MODE_1920X1280_CROP_30FPS  for Front Embedded data */
					mclk_khz = "24000";
					num_lanes = MODE_NUMLANES;
					tegra_sinterface = "serial_e";
					vc_id = "0";
					discontinuous_clk = "no";
					dpcm_enable = "false";
					cil_settletime = "0";
					dynamic_pixel_bit_depth = "16";
					csi_pixel_bit_depth = "16";
					mode_type = "yuv";
					pixel_phase = "uyvy";

					active_w = "1920";
					active_h = "1281";
					readout_orientation = "0";
					line_length = "2250";
					inherent_gain = "1";

					pix_clk_hz = TIER4_PIX_CLK_HZ;
					serdes_pix_clk_hz = TIER4_SERDES_PIX_CLK_HZ;

					gain_factor = "10";
					min_gain_val = "0"; /* dB */
					max_gain_val = "300"; /* dB */
					step_gain_val = "3"; /* 0.3 */
					default_gain = "0";
					min_hdr_ratio = "1";
					max_hdr_ratio = "1";
					framerate_factor = "1000000";
					min_framerate = "30000000";
					max_framerate = "30000000";
					step_framerate = "1";
					default_framerate = "30000000";
					exposure_factor = "1000000";
					min_exp_time = "24"; /* us 1 line */
					max_exp_time = "33333";
					step_exp_time = "1";
					default_exp_time = "33333"; /* us */
					embedded_metadata_height = "0";
				};

				mode2 {
					/*mode ISX021_MODE_1920X1280_CROP_30FPS  for Rear Embedded data */
					mclk_khz = "24000";
					num_lanes = MODE_NUMLANES;
					tegra_sinterface = "serial_e";
					vc_id = "0";
					discontinuous_clk = "no";
					dpcm_enable = "false";
					cil_settletime = "0";
					dynamic_pixel_bit_depth = "16";
					csi_pixel_bit_depth = "16";
					mode_type = "yuv";
					pixel_phase = "uyvy";

					active_w = "1920";
					active_h = "1294";
					readout_orientation = "0";
					line_length = "2250";
					inherent_gain = "1";

					pix_clk_hz = TIER4_PIX_CLK_HZ;
					serdes_pix_clk_hz = TIER4_SERDES_PIX_CLK_HZ;

					gain_factor = "10";
					min_gain_val = "0"; /* dB */
					max_gain_val = "300"; /* dB */
					step_gain_val = "3"; /* 0.3 */
					default_gain = "0";
					min_hdr_ratio = "1";
					max_hdr_ratio = "1";
					framerate_factor = "1000000";
					min_framerate = "30000000";
					max_framerate = "30000000";
					step_framerate = "1";
					default_framerate = "30000000";
					exposure_factor = "1000000";
					min_exp_time = "24"; /* us 1 line */
					max_exp_time = "33333";
					step_exp_time = "1";
					default_exp_time = "33333"; /* us */
					embedded_metadata_height = "0";
				};

				mode3 {
					/*mode ISX021_MODE_1920X1280_CROP_30FPS  for Front and Rear Embedded data */
					mclk_khz = "24000";
					num_lanes = MODE_NUMLANES;
					tegra_sinterface = "serial_e";
					vc_id = "0";
					discontinuous_clk = "no";
					dpcm_enable = "false";
					cil_settletime = "0";
					dynamic_pixel_bit_depth = "16";
					csi_pixel_bit_depth = "16";
					mode_type = "yuv";
					pixel_phase = "uyvy";

					active_w = "1920";
					active_h = "1295";
					readout_orientation = "0";
					line_length = "2250";
					inherent_gain = "1";

					pix_clk_hz = TIER4_PIX_CLK_HZ;
					serdes_pix_clk_hz = TIER4_SERDES_PIX_CLK_HZ;

					gain_factor = "10";
					min_gain_val = "0"; /* dB */
					max_gain_val = "300"; /* dB */
					step_gain_val = "3"; /* 0.3 */
					default_gain = "0";
					min_hdr_ratio = "1";
					max_hdr_ratio = "1";
					framerate_factor = "1000000";
					min_framerate = "30000000";
					max_framerate = "30000000";
					step_framerate = "1";
					default_framerate = "30000000";
					exposure_factor = "1000000";
					min_exp_time = "24"; /* us 1 line */
					max_exp_time = "33333";
					step_exp_time = "1";
					default_exp_time = "33333"; /* us */
					embedded_metadata_height = "0";
				};

				ports {
					#address-cells = <1>;
					#size-cells = <0>;

					port@0 {
						reg = <0>;
						isx021_out4: endpoint {
							vc-id = <0>;
							port-index = <4>;
							bus-width = <BUS_WIDTH>;
							remote-endpoint = <&tier4_csi_in4>;
						};
					};
				};

				gmsl-link { /* isx021_e@1b */
					src-csi-port = "b";           /* Port at which sensor is connected to its serializer device. */
					dst-csi-port = "a";           /* Destination CSI port on the Jetson side, connected at deserializer. */
					serdes-csi-link = "a";        /* GMSL link sensor/serializer connected */
					csi-mode = "1x4";             /*  to sensor CSI mode. */
					st-vc = <0>;                  /* Sensor source default VC ID: 0 unless overridden by sensor. */
					vc-id = <0>;                  /* Destination VC ID, assigned to sensor stream by deserializer. */
					num-lanes = <NUM_LANES>;              /* Number of CSI lanes used. */
					streams = "ued-u1", "yuv8";   /* Types of streams sensor is streaming. */
				};

                        }; // End of isx021_e@1b

			isx021_f@1c {
				//cvb
				status = "okay";
				def-addr = <0x1a>;

				// common modul;e
				compatible = "nvidia,tier4_isx021";
				reg = <0x1c>;

				/* Physical dimensions of sensor */
				physical_w = "15.0";
				physical_h = "12.5";
				reg_mux = <2>;

				sensor_model ="isx021";
				fsync-mode = "false";
				distortion-correction = "false";
				auto-exposure = "true";

				/* Defines number of frames to be dropped by driver internally after applying */
				/* sensor crop settings. Some sensors send corrupt frames after applying */
				/* crop co-ordinates */
				post_crop_frame_drop = "0";

				/* Convert Gain to unit of dB (decibel) befor passing to kernel driver */
				use_decibel_gain = "true";

				/* enable CID_SENSOR_MODE_ID for sensor modes selection */
				use_sensor_mode_id = "true";
				//use_sensor_mode_id = "false";

				mode0 {
					/*mode ISX021_MODE_1920X1280_CROP_30FPS*/
					mclk_khz = "24000";
					num_lanes = MODE_NUMLANES;
					tegra_sinterface = "serial_e";
					vc_id = "1";
					discontinuous_clk = "no";
					dpcm_enable = "false";
					cil_settletime = "0";
					dynamic_pixel_bit_depth = "16";
					csi_pixel_bit_depth = "16";
					mode_type = "yuv";
					pixel_phase = "uyvy";

					active_w = "1920";
					active_h = "1280";
					readout_orientation = "0";
					line_length = "2250";
					inherent_gain = "1";

					pix_clk_hz = TIER4_PIX_CLK_HZ;
					serdes_pix_clk_hz = TIER4_SERDES_PIX_CLK_HZ;

					gain_factor = "10";
					min_gain_val = "0"; /* dB */
					max_gain_val = "300"; /* dB */
					step_gain_val = "3"; /* 0.3 */
					default_gain = "0";
					min_hdr_ratio = "1";
					max_hdr_ratio = "1";
					framerate_factor = "1000000";
					min_framerate = "30000000";
					max_framerate = "30000000";
					step_framerate = "1";
					default_framerate = "30000000";
					exposure_factor = "1000000";
					min_exp_time = "24"; /* us 1 line */
					max_exp_time = "33333";
					step_exp_time = "1";
					default_exp_time = "33333"; /* us */
					embedded_metadata_height = "0";
				};

				mode1 {
					/*mode ISX021_MODE_1920X1280_CROP_30FPS  for Front Embedded data */
					mclk_khz = "24000";
					num_lanes = MODE_NUMLANES;
					tegra_sinterface = "serial_e";
					vc_id = "1";
					discontinuous_clk = "no";
					dpcm_enable = "false";
					cil_settletime = "0";
					dynamic_pixel_bit_depth = "16";
					csi_pixel_bit_depth = "16";
					mode_type = "yuv";
					pixel_phase = "uyvy";

					active_w = "1920";
					active_h = "1281";
					readout_orientation = "0";
					line_length = "2250";
					inherent_gain = "1";

					pix_clk_hz = TIER4_PIX_CLK_HZ;
					serdes_pix_clk_hz = TIER4_SERDES_PIX_CLK_HZ;

					gain_factor = "10";
					min_gain_val = "0"; /* dB */
					max_gain_val = "300"; /* dB */
					step_gain_val = "3"; /* 0.3 */
					default_gain = "0";
					min_hdr_ratio = "1";
					max_hdr_ratio = "1";
					framerate_factor = "1000000";
					min_framerate = "30000000";
					max_framerate = "30000000";
					step_framerate = "1";
					default_framerate = "30000000";
					exposure_factor = "1000000";
					min_exp_time = "24"; /* us 1 line */
					max_exp_time = "33333";
					step_exp_time = "1";
					default_exp_time = "33333"; /* us */
					embedded_metadata_height = "0";
				};

				mode2 {
					/*mode ISX021_MODE_1920X1280_CROP_30FPS  for Rear Embedded data */
					mclk_khz = "24000";
					num_lanes = MODE_NUMLANES;
					tegra_sinterface = "serial_e";
					vc_id = "1";
					discontinuous_clk = "no";
					dpcm_enable = "false";
					cil_settletime = "0";
					dynamic_pixel_bit_depth = "16";
					csi_pixel_bit_depth = "16";
					mode_type = "yuv";
					pixel_phase = "uyvy";

					active_w = "1920";
					active_h = "1294";
					readout_orientation = "0";
					line_length = "2250";
					inherent_gain = "1";

					pix_clk_hz = TIER4_PIX_CLK_HZ;
					serdes_pix_clk_hz = TIER4_SERDES_PIX_CLK_HZ;

					gain_factor = "10";
					min_gain_val = "0"; /* dB */
					max_gain_val = "300"; /* dB */
					step_gain_val = "3"; /* 0.3 */
					default_gain = "0";
					min_hdr_ratio = "1";
					max_hdr_ratio = "1";
					framerate_factor = "1000000";
					min_framerate = "30000000";
					max_framerate = "30000000";
					step_framerate = "1";
					default_framerate = "30000000";
					exposure_factor = "1000000";
					min_exp_time = "24"; /* us 1 line */
					max_exp_time = "33333";
					step_exp_time = "1";
					default_exp_time = "33333"; /* us */
					embedded_metadata_height = "0";
				};

				mode3 {
					/*mode ISX021_MODE_1920X1280_CROP_30FPS  for Front and Rear Embedded data */
					mclk_khz = "24000";
					num_lanes = MODE_NUMLANES;
					tegra_sinterface = "serial_e";
					vc_id = "1";
					discontinuous_clk = "no";
					dpcm_enable = "false";
					cil_settletime = "0";
					dynamic_pixel_bit_depth = "16";
					csi_pixel_bit_depth = "16";
					mode_type = "yuv";
					pixel_phase = "uyvy";

					active_w = "1920";
					active_h = "1295";
					readout_orientation = "0";
					line_length = "2250";
					inherent_gain = "1";

					pix_clk_hz = TIER4_PIX_CLK_HZ;
					serdes_pix_clk_hz = TIER4_SERDES_PIX_CLK_HZ;

					gain_factor = "10";
					min_gain_val = "0"; /* dB */
					max_gain_val = "300"; /* dB */
					step_gain_val = "3"; /* 0.3 */
					default_gain = "0";
					min_hdr_ratio = "1";
					max_hdr_ratio = "1";
					framerate_factor = "1000000";
					min_framerate = "30000000";
					max_framerate = "30000000";
					step_framerate = "1";
					default_framerate = "30000000";
					exposure_factor = "1000000";
					min_exp_time = "24"; /* us 1 line */
					max_exp_time = "33333";
					step_exp_time = "1";
					default_exp_time = "33333"; /* us */
					embedded_metadata_height = "0";
				};

				ports {
					#address-cells = <1>;
					#size-cells = <0>;

					port@0 {
						reg = <0>;
						isx021_out5: endpoint {
							vc-id = <1>;
							port-index = <4>;
							bus-width = <BUS_WIDTH>;
							remote-endpoint = <&tier4_csi_in5>;
						};
					};
				};

				gmsl-link { /* isx021_f@1c */
					src-csi-port = "b";           /* Port at which sensor is connected to its serializer device. */
					dst-csi-port = "a";           /* Destination CSI port on the Jetson side, connected at deserializer. */
					serdes-csi-link = "b";        /* GMSL link sensor/serializer connected */
					csi-mode = "1x4";             /*  to sensor CSI mode. */
					st-vc = <0>;                  /* Sensor source default VC ID: 0 unless overridden by sensor. */
					vc-id = <1>;                  /* Destination VC ID, assigned to sensor stream by deserializer. */
					num-lanes = <NUM_LANES>;              /* Number of CSI lanes used. */
					streams = "ued-u1", "yuv8";   /* Types of streams sensor is streaming. */
				};

			}; // End of isx021_f@1c
		}; // End of i2c@0

		i2c@1 {
			i2c-mux,deselect-on-exit;
			#address-cells = <1>;
			#size-cells = <0>;
			status = "okay";

			reg = <1>;

			isx021_g@1b {
				//cvb
				status = "okay";
				def-addr = <0x1a>;

				// common modul;e
				compatible = "nvidia,tier4_isx021";
				reg = <0x1b>;

				/* Physical dimensions of sensor */
				physical_w = "15.0";
				physical_h = "12.5";
				reg_mux = <3>;

				sensor_model ="isx021";
				fsync-mode = "false";
				distortion-correction = "false";
				auto-exposure = "true";

				/* Defines number of frames to be dropped by driver internally after applying */
				/* sensor crop settings. Some sensors send corrupt frames after applying */
				/* crop co-ordinates */
				post_crop_frame_drop = "0";

				/* Convert Gain to unit of dB (decibel) befor passing to kernel driver */
				use_decibel_gain = "true";

				/* enable CID_SENSOR_MODE_ID for sensor modes selection */
				use_sensor_mode_id = "true";
				//use_sensor_mode_id = "false";
				
				mode0 {
					/*mode ISX021_MODE_1920X1280_CROP_30FPS*/
					mclk_khz = "24000";
					num_lanes = MODE_NUMLANES;
					tegra_sinterface = "serial_g";
					vc_id = "0";
					discontinuous_clk = "no";
					dpcm_enable = "false";
					cil_settletime = "0";
					dynamic_pixel_bit_depth = "16";
					csi_pixel_bit_depth = "16";
					mode_type = "yuv";
					pixel_phase = "uyvy";

					active_w = "1920";
					active_h = "1280";
					readout_orientation = "0";
					line_length = "2250";
					inherent_gain = "1";

					pix_clk_hz = TIER4_PIX_CLK_HZ;
					serdes_pix_clk_hz = TIER4_SERDES_PIX_CLK_HZ;

					gain_factor = "10";
					min_gain_val = "0"; /* dB */
					max_gain_val = "300"; /* dB */
					step_gain_val = "3"; /* 0.3 */
					default_gain = "0";
					min_hdr_ratio = "1";
					max_hdr_ratio = "1";
					framerate_factor = "1000000";
					min_framerate = "30000000";
					max_framerate = "30000000";
					step_framerate = "1";
					default_framerate = "30000000";
					exposure_factor = "1000000";
					min_exp_time = "24"; /* us 1 line */
					max_exp_time = "33333";
					step_exp_time = "1";
					default_exp_time = "33333";           /* us */
					embedded_metadata_height = "0";
				};

				mode1 {
					/*mode ISX021_MODE_1920X1280_CROP_30FPS  for Front Embedded data */
					mclk_khz = "24000";
					num_lanes = MODE_NUMLANES;
					tegra_sinterface = "serial_g";
					vc_id = "0";
					discontinuous_clk = "no";
					dpcm_enable = "false";
					cil_settletime = "0";
					dynamic_pixel_bit_depth = "16";
					csi_pixel_bit_depth = "16";
					mode_type = "yuv";
					pixel_phase = "uyvy";

					active_w = "1920";
					active_h = "1281";
					readout_orientation = "0";
					line_length = "2250";
					inherent_gain = "1";

					pix_clk_hz = TIER4_PIX_CLK_HZ;
					serdes_pix_clk_hz = TIER4_SERDES_PIX_CLK_HZ;

					gain_factor = "10";
					min_gain_val = "0"; /* dB */
					max_gain_val = "300"; /* dB */
					step_gain_val = "3"; /* 0.3 */
					default_gain = "0";
					min_hdr_ratio = "1";
					max_hdr_ratio = "1";
					framerate_factor = "1000000";
					min_framerate = "30000000";
					max_framerate = "30000000";
					step_framerate = "1";
					default_framerate = "30000000";
					exposure_factor = "1000000";
					min_exp_time = "24"; /* us 1 line */
					max_exp_time = "33333";
					step_exp_time = "1";
					default_exp_time = "33333"; /* us */
					embedded_metadata_height = "0";
				};

				mode2 {
					/*mode ISX021_MODE_1920X1280_CROP_30FPS  for Rear Embedded data */
					mclk_khz = "24000";
					num_lanes = MODE_NUMLANES;
					tegra_sinterface = "serial_g";
					vc_id = "0";
					discontinuous_clk = "no";
					dpcm_enable = "false";
					cil_settletime = "0";
					dynamic_pixel_bit_depth = "16";
					csi_pixel_bit_depth = "16";
					mode_type = "yuv";
					pixel_phase = "uyvy";

					active_w = "1920";
					active_h = "1294";
					readout_orientation = "0";
					line_length = "2250";
					inherent_gain = "1";

					pix_clk_hz = TIER4_PIX_CLK_HZ;
					serdes_pix_clk_hz = TIER4_SERDES_PIX_CLK_HZ;

					gain_factor = "10";
					min_gain_val = "0"; /* dB */
					max_gain_val = "300"; /* dB */
					step_gain_val = "3"; /* 0.3 */
					default_gain = "0";
					min_hdr_ratio = "1";
					max_hdr_ratio = "1";
					framerate_factor = "1000000";
					min_framerate = "30000000";
					max_framerate = "30000000";
					step_framerate = "1";
					default_framerate = "30000000";
					exposure_factor = "1000000";
					min_exp_time = "24"; /* us 1 line */
					max_exp_time = "33333";
					step_exp_time = "1";
					default_exp_time = "33333"; /* us */
					embedded_metadata_height = "0";
				};

				mode3 {
					/*mode ISX021_MODE_1920X1280_CROP_30FPS  for Front and Rear Embedded data */
					mclk_khz = "24000";
					num_lanes = MODE_NUMLANES;
					tegra_sinterface = "serial_g";
					vc_id = "0";
					discontinuous_clk = "no";
					dpcm_enable = "false";
					cil_settletime = "0";
					dynamic_pixel_bit_depth = "16";
					csi_pixel_bit_depth = "16";
					mode_type = "yuv";
					pixel_phase = "uyvy";

					active_w = "1920";
					active_h = "1295";
					readout_orientation = "0";
					line_length = "2250";
					inherent_gain = "1";

					pix_clk_hz = TIER4_PIX_CLK_HZ;
					serdes_pix_clk_hz = TIER4_SERDES_PIX_CLK_HZ;

					gain_factor = "10";
					min_gain_val = "0"; /* dB */
					max_gain_val = "300"; /* dB */
					step_gain_val = "3"; /* 0.3 */
					default_gain = "0";
					min_hdr_ratio = "1";
					max_hdr_ratio = "1";
					framerate_factor = "1000000";
					min_framerate = "30000000";
					max_framerate = "30000000";
					step_framerate = "1";
					default_framerate = "30000000";
					exposure_factor = "1000000";
					min_exp_time = "24"; /* us 1 line */
					max_exp_time = "33333";
					step_exp_time = "1";
					default_exp_time = "33333"; /* us */
					embedded_metadata_height = "0";
				};

				ports {
					#address-cells = <1>;
					#size-cells = <0>;

					port@0 {
						reg = <0>;
						isx021_out6: endpoint {
							vc-id = <0>;
							port-index = <6>;
							bus-width = <BUS_WIDTH>;
							remote-endpoint = <&tier4_csi_in6>;
						};
					};
				};

				gmsl-link {
					src-csi-port = "b";           /* Port at which sensor is connected to its serializer device. */
					dst-csi-port = "a";           /* Destination CSI port on the Jetson side, connected at deserializer. */
					serdes-csi-link = "a";        /* GMSL link sensor/serializer connected */
					csi-mode = "1x4";             /*  to sensor CSI mode. */
					st-vc = <0>;                  /* Sensor source default VC ID: 0 unless overridden by sensor. */
					vc-id = <0>;                  /* Destination VC ID, assigned to sensor stream by deserializer. */
					num-lanes = <NUM_LANES>;              /* Number of CSI lanes used. */
					streams = "ued-u1", "yuv8";   /* Types of streams sensor is streaming. */
				};

			}; // End of isx021_g@1b
				
			isx021_h@1c {
				//cvb
				status = "okay";
				def-addr = <0x1a>;

				// common modul;e
				compatible = "nvidia,tier4_isx021";
				reg = <0x1c>;

				/* Physical dimensions of sensor */
				physical_w = "15.0";
				physical_h = "12.5";
				reg_mux = <3>;

				sensor_model ="isx021";
				fsync-mode = "false";
				distortion-correction = "false";
				auto-exposure = "true";

				/* Defines number of frames to be dropped by driver internally after applying */
				/* sensor crop settings. Some sensors send corrupt frames after applying */
				/* crop co-ordinates */
				post_crop_frame_drop = "0";

				/* Convert Gain to unit of dB (decibel) befor passing to kernel driver */
				use_decibel_gain = "true";

				/* enable CID_SENSOR_MODE_ID for sensor modes selection */
				use_sensor_mode_id = "true";
				//use_sensor_mode_id = "false";

				mode0 {
					/*mode ISX021_MODE_1920X1280_CROP_30FPS*/
					mclk_khz = "24000";
					num_lanes = MODE_NUMLANES;
					tegra_sinterface = "serial_g";
					vc_id = "1";
					discontinuous_clk = "no";
					dpcm_enable = "false";
					cil_settletime = "0";
					dynamic_pixel_bit_depth = "16";
					csi_pixel_bit_depth = "16";
					mode_type = "yuv";
					pixel_phase = "uyvy";

					active_w = "1920";
					active_h = "1280";
					readout_orientation = "0";
					line_length = "2250";
					inherent_gain = "1";

					pix_clk_hz = TIER4_PIX_CLK_HZ;
					serdes_pix_clk_hz = TIER4_SERDES_PIX_CLK_HZ;

					gain_factor = "10";
					min_gain_val = "0"; /* dB */
					max_gain_val = "300"; /* dB */
					step_gain_val = "3";  /* 0.3 */
					default_gain = "0";
					min_hdr_ratio = "1";
					max_hdr_ratio = "1";
					framerate_factor = "1000000";
					min_framerate = "30000000";
					max_framerate = "30000000";
					step_framerate = "1";
					default_framerate = "30000000";
					exposure_factor = "1000000";
					min_exp_time = "24"; /* us 1 line */
					max_exp_time = "33333";
					step_exp_time = "1";
					default_exp_time = "33333"; /* us */
					embedded_metadata_height = "0";
				};

				mode1 {
					/*mode ISX021_MODE_1920X1280_CROP_30FPS  for Front Embedded data */
					mclk_khz = "24000";
					num_lanes = MODE_NUMLANES;
					tegra_sinterface = "serial_g";
					vc_id = "1";
					discontinuous_clk = "no";
					dpcm_enable = "false";
					cil_settletime = "0";
					dynamic_pixel_bit_depth = "16";
					csi_pixel_bit_depth = "16";
					mode_type = "yuv";
					pixel_phase = "uyvy";

					active_w = "1920";
					active_h = "1281";
					readout_orientation = "0";
					line_length = "2250";
					inherent_gain = "1";

					pix_clk_hz = TIER4_PIX_CLK_HZ;
					serdes_pix_clk_hz = TIER4_SERDES_PIX_CLK_HZ;

					gain_factor = "10";
					min_gain_val = "0"; /* dB */
					max_gain_val = "300"; /* dB */
					step_gain_val = "3"; /* 0.3 */
					default_gain = "0";
					min_hdr_ratio = "1";
					max_hdr_ratio = "1";
					framerate_factor = "1000000";
					min_framerate = "30000000";
					max_framerate = "30000000";
					step_framerate = "1";
					default_framerate = "30000000";
					exposure_factor = "1000000";
					min_exp_time = "24"; /* us 1 line */
					max_exp_time = "33333";
					step_exp_time = "1";
					default_exp_time = "33333"; /* us */
					embedded_metadata_height = "0";
				};

				mode2 {
					/*mode ISX021_MODE_1920X1280_CROP_30FPS  for Rear Embedded data */
					mclk_khz = "24000";
					num_lanes = MODE_NUMLANES;
					tegra_sinterface = "serial_g";
					vc_id = "1";
					discontinuous_clk = "no";
					dpcm_enable = "false";
					cil_settletime = "0";
					dynamic_pixel_bit_depth = "16";
					csi_pixel_bit_depth = "16";
					mode_type = "yuv";
					pixel_phase = "uyvy";

					active_w = "1920";
					active_h = "1294";
					readout_orientation = "0";
					line_length = "2250";
					inherent_gain = "1";

					pix_clk_hz = TIER4_PIX_CLK_HZ;
					serdes_pix_clk_hz = TIER4_SERDES_PIX_CLK_HZ;

					gain_factor = "10";
					min_gain_val = "0"; /* dB */
					max_gain_val = "300"; /* dB */
					step_gain_val = "3"; /* 0.3 */
					default_gain = "0";
					min_hdr_ratio = "1";
					max_hdr_ratio = "1";
					framerate_factor = "1000000";
					min_framerate = "30000000";
					max_framerate = "30000000";
					step_framerate = "1";
					default_framerate = "30000000";
					exposure_factor = "1000000";
					min_exp_time = "24"; /* us 1 line */
					max_exp_time = "33333";
					step_exp_time = "1";
					default_exp_time = "33333"; /* us */
					embedded_metadata_height = "0";
				};

				mode3 {
					/*mode ISX021_MODE_1920X1280_CROP_30FPS  for Front and Rear Embedded data */
					mclk_khz = "24000";
					num_lanes = MODE_NUMLANES;
					tegra_sinterface = "serial_g";
					vc_id = "1";
					discontinuous_clk = "no";
					dpcm_enable = "false";
					cil_settletime = "0";
					dynamic_pixel_bit_depth = "16";
					csi_pixel_bit_depth = "16";
					mode_type = "yuv";
					pixel_phase = "uyvy";

					active_w = "1920";
					active_h = "1295";
					readout_orientation = "0";
					line_length = "2250";
					inherent_gain = "1";

					pix_clk_hz = TIER4_PIX_CLK_HZ;
					serdes_pix_clk_hz = TIER4_SERDES_PIX_CLK_HZ;

					gain_factor = "10";
					min_gain_val = "0"; /* dB */
					max_gain_val = "300"; /* dB */
					step_gain_val = "3"; /* 0.3 */
					default_gain = "0";
					min_hdr_ratio = "1";
					max_hdr_ratio = "1";
					framerate_factor = "1000000";
					min_framerate = "30000000";
					max_framerate = "30000000";
					step_framerate = "1";
					default_framerate = "30000000";
					exposure_factor = "1000000";
					min_exp_time = "24"; /* us 1 line */
					max_exp_time = "33333";
					step_exp_time = "1";
					default_exp_time = "33333";           /* us */
					embedded_metadata_height = "0";
				};

				ports {
					#address-cells = <1>;
					#size-cells = <0>;

					port@0 {
						reg = <0>;
						isx021_out7: endpoint {
							vc-id = <1>;
							port-index = <6>;
							bus-width = <BUS_WIDTH>;
							remote-endpoint = <&tier4_csi_in7>;
						};
					};
				};

				gmsl-link { /* isx021_h@1c */
					src-csi-port = "b";           /* Port at which sensor is connected to its serializer device. */
					dst-csi-port = "a";           /* Destination CSI port on the Jetson side, connected at deserializer. */
					serdes-csi-link = "b";        /* GMSL link sensor/serializer connected */
					csi-mode = "1x4";             /*  to sensor CSI mode. */
					st-vc = <0>;                  /* Sensor source default VC ID: 0 unless overridden by sensor. */
					vc-id = <1>;                  /* Destination VC ID, assigned to sensor stream by deserializer. */
					num-lanes = <NUM_LANES>;              /* Number of CSI lanes used. */
					streams = "ued-u1", "yuv8";   /* Types of streams sensor is streaming. */
				};

			}; // End of isx021_h@1c
		}; // End of i2c@1
	}; // End of tca9543@73

	t4_fpga: tier4_fpga@66 {
		compatible = "nvidia,tier4_fpga";
		reg = <0x66>;
		generate-fsync = "false";
		status = "okay";
	};

	}; // End of i2c@3180000
};

/ {

	tcp: tegra-camera-platform {
		compatible = "nvidia, tegra-camera-platform";
		/**
		* Physical settings to calculate max ISO BW
		*
		* num_csi_lanes = <>;
		* Total number of CSI lanes when all cameras are active
		*
		* max_lane_speed = <>;
		* Max lane speed in Kbit/s
		*
		* min_bits_per_pixel = <>;
		* Min bits per pixel
		*
		* vi_peak_byte_per_pixel = <>;
		* Max byte per pixel for the VI ISO case
		*
		* vi_bw_margin_pct = <>;
		* Vi bandwidth margin in percentage
		*
		* max_pixel_rate = <>;
		* Max pixel rate in Kpixel/s for the ISP ISO case
		*
		* isp_peak_byte_per_pixel = <>;
		* Max byte per pixel for the ISP ISO case
		*
		* isp_bw_margin_pct = <>;
		* Isp bandwidth margin in percentage
		*/
		num_csi_lanes = <8>;
//#ifdef CAM_SERDES_GMSL)
		max_lane_speed = <4000000>;
//#else	// CAM_SERDES_FPDL
//		max_lane_speed = <1500000>;	// FIX:?
//#endif
		min_bits_per_pixel = <10>;	// FIX:* 10
		vi_peak_byte_per_pixel = <2>;
		vi_bw_margin_pct = <25>;
		//max_pixel_rate = <800000>;	// FIX:? 160|200|300|750
		isp_peak_byte_per_pixel = <5>;
		isp_bw_margin_pct = <25>;

		/**
		 * The general guideline for naming badge_info contains 3 parts, and is as follows,
		 * The first part is the camera_board_id for the module; if the module is in a FFD
		 * platform, then use the platform name for this part.
		 * The second part contains the position of the module, ex. "rear" or "front".
		 * The third part contains the last 6 characters of a part number which is found
		 * in the module's specsheet from the vender.
		 */
		modules {
			module0 {
				badge = "isx021_rear";
				position = "rear";
				orientation = "1";
				drivernode0 {
					/* Declare PCL support driver (classically known as guid)  */
					pcl_id = "v4l2_sensor";
					/* Driver v4l2 device name */
					devname = "isx021 30-001b";
					/* Declare the device-tree hierarchy to driver instance */
					proc-device-tree = "/proc/device-tree/i2c@3180000/tca9543@72/i2c@0/isx021_a@1b";
				};
			};
			module1 {
				badge = "isx021_front";
				position = "front";
				orientation = "1";
				drivernode0 {
					/* Declare PCL support driver (classically known as guid)  */
					pcl_id = "v4l2_sensor";
					/* Driver v4l2 device name */
					devname = "isx021 30-001c";
					/* Declare the device-tree hierarchy to driver instance */
					proc-device-tree = "/proc/device-tree/i2c@3180000/tca9543@72/i2c@0/isx021_b@1c";
				};
			};
			module2 {
				badge = "isx021_topright";
				position = "topright";
				orientation = "1";
				drivernode0 {
					/* Declare PCL support driver (classically known as guid)  */
					pcl_id = "v4l2_sensor";
					/* Driver v4l2 device name */
					devname = "isx021 31-001b";
					/* Declare the device-tree hierarchy to driver instance */
					proc-device-tree = "/proc/device-tree/i2c@3180000/tca9543@72/i2c@1/isx021_c@1b";
				};
			};
			module3 {
				badge = "isx021_bottomright";
				position = "bottomright";
				orientation = "1";
				drivernode0 {
					/* Declare PCL support driver (classically known as guid)  */
					pcl_id = "v4l2_sensor";
					/* Driver v4l2 device name */
					devname = "isx021 31-001c";
					/* Declare the device-tree hierarchy to driver instance */
					proc-device-tree = "/proc/device-tree/i2c@3180000/tca9543@72/i2c@1/isx021_d@1c";
				};
			};
			module4 {
				badge = "isx021_topleft";
				position = "topleft";
				orientation = "1";
				drivernode0 {
					/* Declare PCL support driver (classically known as guid)  */
					pcl_id = "v4l2_sensor";
					/* Driver v4l2 device name */
					devname = "isx021 32-001b";
					/* Declare the device-tree hierarchy to driver instance */
					proc-device-tree = "/proc/device-tree/i2c@3180000/tca9543@73/i2c@0/isx021_e@1b";
				};
			};
			module5 {
				badge = "isx021_centerright";
				position = "centerright";
				orientation = "1";
				drivernode0 {
					/* Declare PCL support driver (classically known as guid)  */
					pcl_id = "v4l2_sensor";
					/* Driver v4l2 device name */
					devname = "isx021 32-001c";
					/* Declare the device-tree hierarchy to driver instance */
					proc-device-tree = "/proc/device-tree/i2c@3180000/tca9543@73/i2c@0/isx021_f@1c";
				};
			};
			module6 {
				badge = "isx021_cneterleft";
				position = "centerleft";
				orientation = "1";
				drivernode0 {
					/* Declare PCL support driver (classically known as guid)  */
					pcl_id = "v4l2_sensor";
					/* Driver v4l2 device name */
					devname = "isx021 33-001b";
					/* Declare the device-tree hierarchy to driver instance */
					proc-device-tree = "/proc/device-tree/i2c@3180000/tca9543@73/i2c@1/isx021_g@1b";
				};
			};
			module7 {
				badge = "isx021_bottomleft";
				position = "bottomleft";
				orientation = "1";
				drivernode0 {
					/* Declare PCL support driver (classically known as guid)  */
					pcl_id = "v4l2_sensor";
					/* Driver v4l2 device name */
					devname = "isx021 33-001c";
					/* Declare the device-tree hierarchy to driver instance */
					proc-device-tree = "/proc/device-tree/i2c@3180000/tca9543@73/i2c@1/isx021_h@1c";
				};
			};
		};
	};
};
